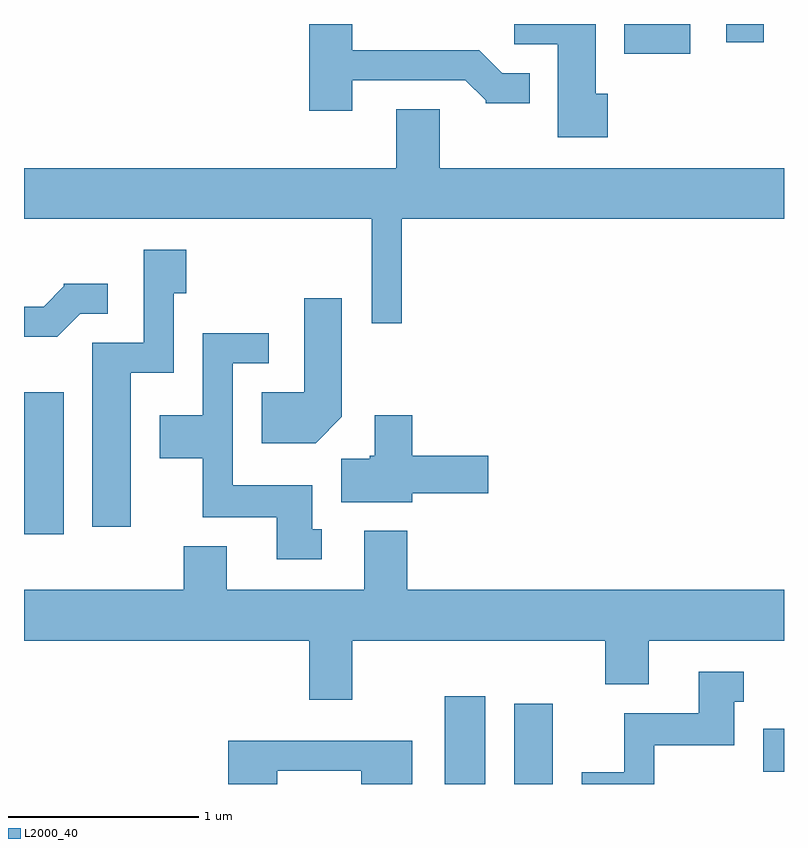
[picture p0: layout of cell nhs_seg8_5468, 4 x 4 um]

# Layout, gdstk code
import gdstk
lib = gdstk.Library(unit=1e-6, precision=1e-09)
def R(c, l, rs):  # rectangles x0, y0, x1, y1
    for r in rs: c.add(gdstk.rectangle(r[:2], r[2:], *l))
def P(c, l, *ps):  # polygons
    for p in ps: c.add(gdstk.Polygon(p, *l))
L2000_40 = (2000, 40)

nhs_seg8_5468 = lib.new_cell('nhs_seg8_5468')
R(nhs_seg8_5468, L2000_40, [(351.826,1822.342,352.039,1822.804), (352.191,1822.342,352.394,1822.764), (353.501,1822.406,353.611,1822.634), (349.611,1823.656,349.819,1824.404), (352.771,1826.186,353.118,1826.342), (353.306,1826.246,353.504,1826.342)])
P(nhs_seg8_5468, L2000_40, [(352.684,1825.974),(352.619,1825.974),(352.619,1826.342),(352.191,1826.342),(352.191,1826.236),(352.421,1826.236),(352.421,1825.746),(352.684,1825.746)],
  [(351.339,1826.046),(351.934,1826.046),(352.04,1825.94),(352.04,1825.926),(352.273,1825.926),(352.273,1826.084),(352.127,1826.084),(352.007,1826.204),(351.339,1826.204),(351.339,1826.342),(351.111,1826.342),(351.111,1825.886),(351.339,1825.886)],
  [(351.599,1825.316),(353.611,1825.316),(353.611,1825.584),(351.799,1825.584),(351.799,1825.894),(351.571,1825.894),(351.571,1825.584),(349.611,1825.584),(349.611,1825.316),(351.441,1825.316),(351.441,1824.768),(351.599,1824.768)],
  [(350.174,1824.506),(350.399,1824.506),(350.399,1824.926),(350.464,1824.926),(350.464,1825.154),(350.241,1825.154),(350.241,1824.664),(349.971,1824.664),(349.971,1823.696),(350.174,1823.696)],
  [(349.907,1824.816),(350.053,1824.816),(350.053,1824.974),(349.82,1824.974),(349.82,1824.961),(349.714,1824.854),(349.611,1824.854),(349.611,1824.696),(349.787,1824.696)],
  [(351.284,1824.274),(351.284,1824.899),(351.086,1824.899),(351.086,1824.404),(350.861,1824.404),(350.861,1824.136),(351.147,1824.136)],
  [(351.178,1823.684),(351.129,1823.684),(351.129,1823.914),(350.709,1823.914),(350.709,1824.556),(350.898,1824.556),(350.898,1824.714),(350.551,1824.714),(350.551,1824.284),(350.326,1824.284),(350.326,1824.056),(350.551,1824.056),(350.551,1823.746),(350.941,1823.746),(350.941,1823.526),(351.178,1823.526)],
  [(351.654,1823.871),(352.054,1823.871),(352.054,1824.069),(351.654,1824.069),(351.654,1824.284),(351.456,1824.284),(351.456,1824.069),(351.43,1824.069),(351.43,1824.054),(351.281,1824.054),(351.281,1823.826),(351.654,1823.826)],
  [(351.339,1823.096),(352.671,1823.096),(352.671,1822.866),(352.899,1822.866),(352.899,1823.096),(353.611,1823.096),(353.611,1823.364),(351.629,1823.364),(351.629,1823.674),(351.401,1823.674),(351.401,1823.364),(350.679,1823.364),(350.679,1823.594),(350.451,1823.594),(350.451,1823.364),(349.611,1823.364),(349.611,1823.096),(351.111,1823.096),(351.111,1822.786),(351.339,1822.786)],
  [(352.929,1822.546),(353.349,1822.546),(353.349,1822.776),(353.398,1822.776),(353.398,1822.934),(353.161,1822.934),(353.161,1822.714),(352.771,1822.714),(352.771,1822.404),(352.546,1822.404),(352.546,1822.342),(352.929,1822.342)],
  [(350.944,1822.411),(351.386,1822.411),(351.386,1822.342),(351.654,1822.342),(351.654,1822.569),(350.686,1822.569),(350.686,1822.342),(350.944,1822.342)])

lib.write_gds('nhs_seg8_5468.gds')
